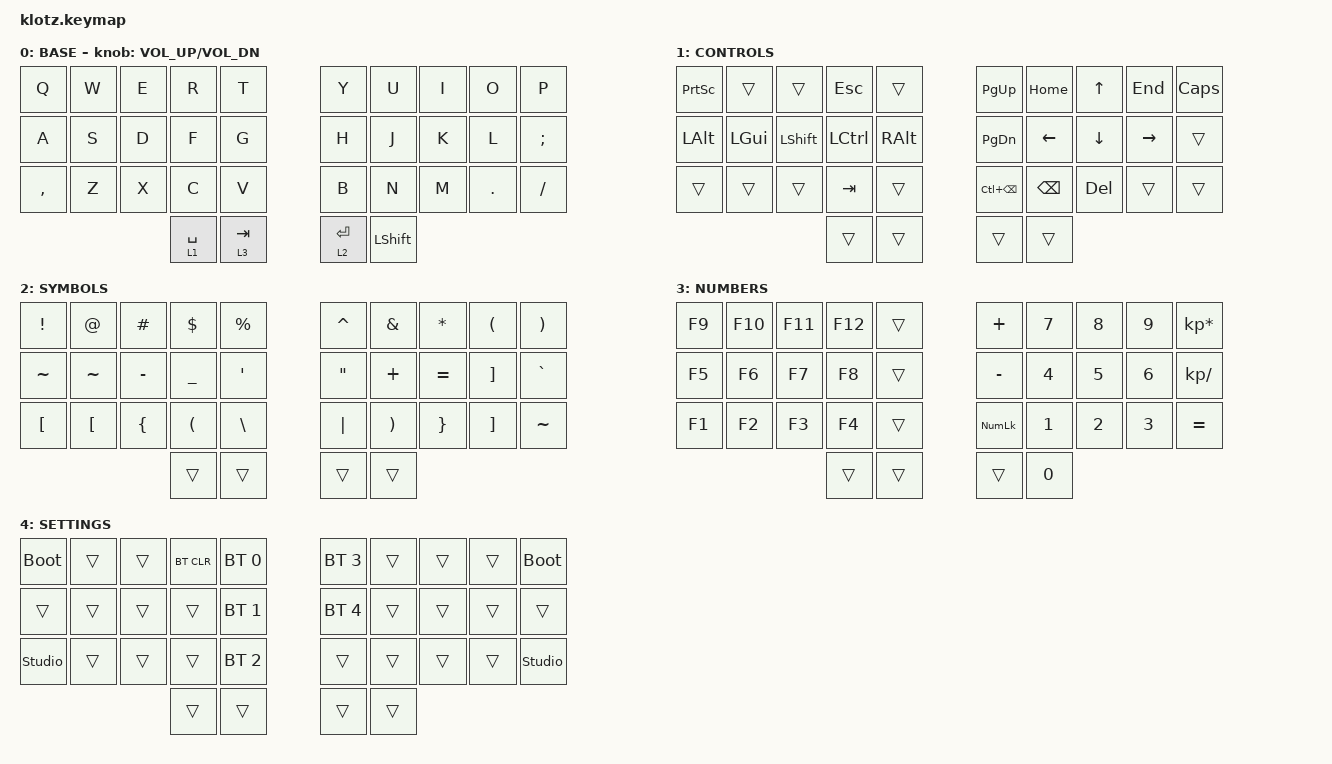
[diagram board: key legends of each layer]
//                                      █         ██        ▄▀▀▀▀▀▀▀▀▀▀█▀▀▀▀▀▀▀▀█▀▀▀▀▀▀▀▀▀▀█
//                                      █        █ █      ▄▀            ▀▄      █         █
//                                      █       █  █    ▄▀                ▀▄    █        █
//                                      █      █   █   █                    █   █       █
//                                      █     █    █   █                    █   █      █
//                                      █    █     █   █                    █   █  ▀▀▀█▀▀▀▀
//                                      █   █ █    █   █                    █   █    █
//                                      █  █   █   █   █                    █   █   █
//                                      █ █     █  █    ▀▄                ▄▀    █  █
//                                      ██       █ █      ▀▄            ▄▀      █ █
//                                      █         ██▄▄▄▄▄▄▄▄█▄▄▄▄▄▄▄▄▄▄▀        ██▄▄▄▄▄▄▄▄▄▄

#include <behaviors.dtsi>
#include <dt-bindings/zmk/bt.h>
#include <dt-bindings/zmk/keys.h>

#define BASE 0
#define NAV  1
#define SYM  2
#define ADJ  3
#define TVP1 4
#define TVP2 5

&mt {
    quick-tap-ms = <100>;
    global-quick-tap;
    flavor = "tap-preferred";
    tapping-term-ms = <170>;
};

 / {
    combos {
        compatible = "zmk,combos";

        settings_layer {
            bindings = <&mo 4>;
            key-positions = <31 30>;
        };

        L_Ctl {
            bindings = <&kp LEFT_CONTROL>;
            key-positions = <13 12>;
        };

        R_Ctl {
            bindings = <&kp LEFT_CONTROL>;
            key-positions = <17 16>;
        };

        L_Shift {
            bindings = <&kp LEFT_SHIFT>;
            key-positions = <11 12>;
        };

        R_Shift {
            bindings = <&kp LEFT_SHIFT>;
            key-positions = <18 17>;
        };

        L_Alt {
            bindings = <&kp LEFT_ALT>;
            key-positions = <11 10>;
        };

        R_Alt {
            bindings = <&kp LEFT_ALT>;
            key-positions = <19 18>;
        };

        L_GUI {
            bindings = <&kp LEFT_GUI>;
            key-positions = <23 22>;
        };

        R_GUI {
            bindings = <&kp LEFT_GUI>;
            key-positions = <26 27>;
        };

        SWITCH_LANG {
            bindings = <&kp RIGHT_ALT>;
            key-positions = <3 2>;
        };

        SWITCH_LANG_R {
            bindings = <&kp RIGHT_ALT>;
            key-positions = <7 6>;
        };
    };

    macros {
        gif: gif {
            label = "giphy";
            compatible = "zmk,behavior-macro";
            #binding-cells = <0>;
            bindings =
                <&macro_press>,
                <&kp LSHFT>,
                <&macro_tap>,
                <&kp N2>,
                <&macro_release>,
                <&kp LSHFT>,
                <&macro_tap>,
                <&kp G &kp I &kp F>;
        };

        qusp: qusp {
            label = "quote space";
            compatible = "zmk,behavior-macro";
            #binding-cells = <0>;
            bindings = <&macro_tap>, <&kp DQT>, <&macro_tap>, <&kp SPACE>;
        };

        sqsp: sqsp {
            label = "quote space";
            compatible = "zmk,behavior-macro";
            #binding-cells = <0>;
            bindings = <&macro_tap>, <&kp SQT>, <&macro_tap>, <&kp SPACE>;
        };
    };

    keymap {
        compatible = "zmk,keymap";

        base_layer {
            label = "BASE";

            bindings = <
&kp Q      &kp W  &kp E  &kp R        &kp T      &kp Y      &kp U           &kp I  &kp O       &kp P
&kp A      &kp S  &kp D  &kp F        &kp G      &kp H      &kp J           &kp K  &kp L       &kp SEMICOLON
&kp COMMA  &kp Z  &kp X  &kp C        &kp V      &kp B      &kp N           &kp M  &kp PERIOD  &kp FSLH
                         &lt 1 SPACE  &lt 3 TAB  &lt 2 RET  &kp LEFT_SHIFT
            >;

            sensor-bindings = <&inc_dec_kp C_VOL_UP C_VOL_DN>;
        };

        CONTROLS {
            label = "CONTROLS";

            bindings = <
&kp PRINTSCREEN  &trans        &trans          &kp ESCAPE        &trans         &kp PAGE_UP        &kp HOME       &kp UP_ARROW  &kp END          &kp CAPSLOCK
&kp LEFT_ALT     &kp LEFT_GUI  &kp LEFT_SHIFT  &kp LEFT_CONTROL  &kp RIGHT_ALT  &kp PAGE_DOWN      &kp LEFT       &kp DOWN      &kp RIGHT_ARROW  &trans
&trans           &trans        &trans          &kp TAB           &trans         &kp LC(BSPC)       &kp BACKSPACE  &kp DELETE    &trans           &trans
                                               &trans            &trans         &trans             &trans
            >;
        };

        SYMBOLS {
            label = "SYMBOLS";

            bindings = <
&kp EXCL   &kp AT     &kp HASH  &kp DLLR   &kp PRCNT  &kp CARET  &kp AMPS  &kp STAR  &kp LPAR  &kp RPAR
&kp TILDE  &kp TILDE  &kp MINUS &kp UNDER  &kp SQT    &kp DQT    &kp PLUS  &kp EQUAL &kp RBKT  &kp GRAVE
&kp LBKT   &kp LBKT   &kp LBRC  &kp LPAR   &kp BSLH   &kp PIPE   &kp RPAR  &kp RBRC  &kp RBKT  &kp TILDE
                                             &trans   &trans     &trans    &trans
            >;
        };

        NUMBERS {
            label = "NUMBERS";

            bindings = <
&kp F9  &kp F10  &kp F11  &kp F12  &trans  &kp PLUS    &kp N7  &kp N8  &kp N9  &kp KP_MULTIPLY
&kp F5  &kp F6   &kp F7   &kp F8   &trans  &kp MINUS   &kp N4  &kp N5  &kp N6  &kp KP_DIVIDE
&kp F1  &kp F2   &kp F3   &kp F4   &trans  &kp KP_NUM  &kp N1  &kp N2  &kp N3  &kp EQUAL
                          &trans   &trans  &trans      &kp N0
            >;
        };

        SETTINGS {
            label = "SETTINGS";

            bindings = <
&bootloader     &trans  &trans  &bt BT_CLR  &bt BT_SEL 0  &bt BT_SEL 3  &trans  &trans  &trans  &bootloader
&trans          &trans  &trans  &trans      &bt BT_SEL 1  &bt BT_SEL 4  &trans  &trans  &trans  &trans
&studio_unlock  &trans  &trans  &trans      &bt BT_SEL 2  &trans        &trans  &trans  &trans  &studio_unlock
                                &trans      &trans        &trans        &trans
            >;
        };

        extra1 { status = "reserved"; };
        extra2 { status = "reserved"; };
        extra3 { status = "reserved"; };
        extra4 { status = "reserved"; };
    };
};
